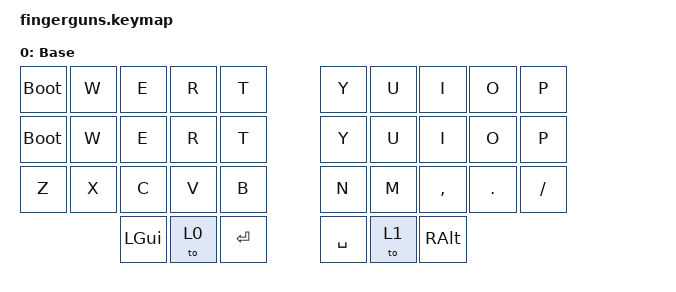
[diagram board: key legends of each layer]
#include <behaviors.dtsi>
#include <dt-bindings/zmk/keys.h>
#include <dt-bindings/zmk/bt.h>
#include <dt-bindings/zmk/mouse.h>
#include <behaviors/mouse_move.dtsi>
#include <behaviors/mouse_scroll.dtsi>

//////////////////////////////////////////////////////////////////////
// NOTE: Use the `#define` settings below to customize this keymap! //
// You can override them here instead of modifying them down there. //
// /* EXAMPLE: */  #define EMOJI_HAIR_STYLE_PRESET 3 // curly_hair  //
//////////////////////////////////////////////////////////////////////
//
// Sunaku's Keymap v30 -- "Glorious Engrammer"
// - https://github.com/sunaku/glove80-keymaps
//
//////////////////////////////////////////////////////////////////////

/ {

        keymap {
                compatible = "zmk,keymap";

                default_layer {

                        label = "Base";
                        bindings = <
   &bootloader       &kp W       &kp E        &kp R         &kp T     &kp Y      &kp U         &kp I        &kp O       &kp P
   &bootloader       &kp W       &kp E        &kp R         &kp T     &kp Y      &kp U         &kp I        &kp O       &kp P
   &kp Z       &kp X       &kp C        &kp V         &kp B     &kp N      &kp M         &kp COMMA    &kp DOT     &kp FSLH
                           &kp LGUI     &to 0         &kp RET   &kp SPACE  &to 1         &kp RALT
                        >;
                };

           
        };
};
